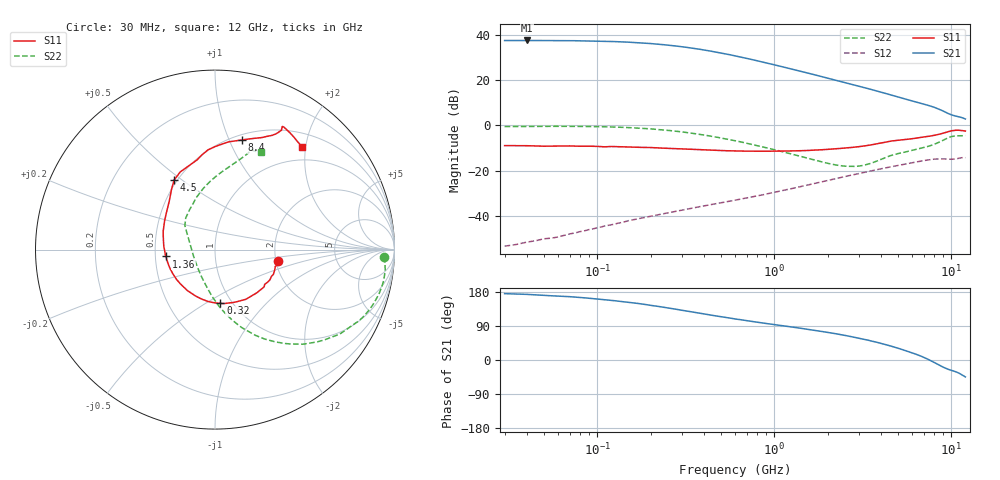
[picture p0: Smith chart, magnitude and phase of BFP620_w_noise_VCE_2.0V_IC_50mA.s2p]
! Infineon Technologies  Discrete & RF Semiconductors
! BFP620
! VCE =  2.0 V,  IC =  50 mA
! Common Emitter S-Parameters:  Nov 2015
# GHz  S  MA  R  50
!  f  S11  S21  S12  S22
! GHz  MAG  ANG  MAG  ANG  MAG  ANG  MAG  ANG
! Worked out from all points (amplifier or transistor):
!   239 points, 30 MHz to 12 GHz, reference 50 ohm
!   highest |S21| = 37.4 dB at 40 MHz (marker M1)
!   |S21| within 3 dB of that: start of sweep to 317.6 MHz
!   unconditionally stable (mu >= 1): 1.991 GHz to end of sweep
!   at 300 MHz: K = 0.47, MSG = 36.0 dB, |S12| = -37.3 dB
!   at 1.88 GHz: K = 0.99, MSG = 23.0 dB, |S12| = -24.7 dB
!   at 12 GHz: K = 1.08, MAG = 6.8 dB, |S12| = -14.2 dB
!   lowest NFmin = 1.51 dB at 450 MHz
!   S11 on the Smith chart (normalised r, x): 30 MHz: 2.06, -0.31; 320 MHz: 0.88, -0.58; 1.36 GHz: 0.57, -0.05; 4.5 GHz: 0.48, +0.47; 8.4 GHz: 0.55, +1.11; 12 GHz: 0.73, +1.92
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0.03  0.3592 -10.5  73.73 175.1  0.0022 93.3  0.9425 -2.5
0.04  0.3575 -13.7  74.05 173.2  0.0027 90.8  0.9503 -4.6
0.05  0.3488 -15.6  73.73 170.3  0.0032 86.3  0.955 -6.8
0.07  0.3534 -23.1  73.43 167.1  0.0041 85.3  0.9547 -11.0
0.085  0.3485 -27.1  72.47 164.0  0.0048 82.1  0.9485 -14.1
0.115  0.3405 -36.1  70.73 158.2  0.0063 80.1  0.9288 -19.9
0.145  0.3361 -44.2  68.29 153.1  0.0077 77.6  0.9014 -25.2
0.19  0.3266 -55.6  64.15 146.0  0.0096 75.0  0.8495 -32.4
0.24  0.3148 -67.4  59.44 138.8  0.0115 72.6  0.7905 -39.5
0.3  0.3048 -80.6  53.97 131.3  0.0136 70.6  0.7206 -47.0
0.32  0.3009 -84.3  52.21 129.3  0.0143 70.0  0.6977 -49.0
0.4  0.2912 -98.2  45.8 121.5  0.0169 68.5  0.6146 -56.8
0.5  0.2803 -112.7  39.12 114.1  0.0198 67.1  0.5287 -64.7
0.6  0.2751 -124.4  33.93 108.3  0.0226 66.5  0.4604 -71.0
0.7  0.2719 -134.2  29.76 103.6  0.0254 66.0  0.4042 -76.3
0.9  0.2707 -149.6  23.72 96.3  0.0308 65.3  0.3222 -85.3
1.36  0.2767 -172.1  16.08 84.8  0.0437 62.7  0.2156 -102.0
1.64  0.2849 177.2  13.39 79.2  0.0514 60.7  0.1785 -112.5
2.6  0.3219 151.1  8.451 63.4  0.0773 51.8  0.1259 -157.0
4.5  0.4498 120.4  4.742 37.2  0.1215 32.0  0.2145 141.4
8.4  0.6293 76.3  2.322 -11.7  0.183 -9.8  0.4156 88.0
12  0.7499 49.9  1.384 -44.6  0.1944 -38.4  0.5996 64.5
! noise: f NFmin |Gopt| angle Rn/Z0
0.45  1.51  0.29  -166  0.1
0.9  1.52  0.32  -155  0.11
1.9  1.54  0.35  -138  0.12
2.4  1.56  0.35  -136  0.13
3.5  1.59  0.41  -105  0.23
5.5  1.87  0.43  -85  0.32
10  2.18  0.66  -43  1.22
